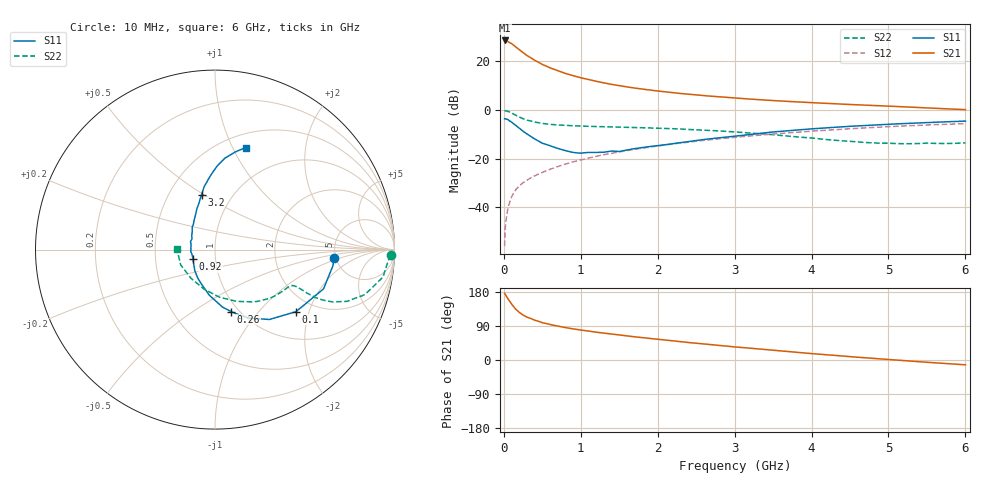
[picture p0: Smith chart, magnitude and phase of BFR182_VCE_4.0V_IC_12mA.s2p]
! Infineon Technologies  Discrete & RF Semiconductors
! BFR182
! VCE =  4.0 V,  IC =  12 mA
! Common Emitter S-Parameters:  Nov 2015
# GHz  S  MA  R  50
!  f  S11  S21  S12  S22
! GHz  MAG  ANG  MAG  ANG  MAG  ANG  MAG  ANG
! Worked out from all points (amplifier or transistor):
!   210 points, 10 MHz to 6 GHz, reference 50 ohm
!   highest |S21| = 28.6 dB at 10 MHz (marker M1)
!   |S21| within 3 dB of that: start of sweep to 168.8 MHz
!   unconditionally stable (mu >= 1): 741.6 MHz to 2.602 GHz
!   at 185 MHz: K = 0.56, MSG = 28.4 dB, |S12| = -31.7 dB
!   at 1.52 GHz: K = 1.05, MAG = 12.2 dB, |S12| = -17.1 dB
!   at 6 GHz: K = 0.89, MSG = 2.9 dB, |S12| = -5.6 dB
!   S11 on the Smith chart (normalised r, x): 10 MHz: 4.81, -0.82; 100 MHz: 1.61, -1.64; 260 MHz: 0.92, -0.73; 920 MHz: 0.78, -0.08; 3.2 GHz: 0.72, +0.49; 6 GHz: 0.64, +1.13
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0.01  0.6641 -4.1  26.93 176.1  0.0016 95.6  0.9788 -1.8
0.02  0.6632 -7.8  26.48 172.4  0.0041 89.4  0.9664 -3.8
0.05  0.6431 -19.9  25.77 162.4  0.009 81.9  0.9481 -9.3
0.1  0.5682 -37.5  23.28 147.4  0.0164 76.2  0.8723 -16.7
0.15  0.4939 -52.0  20.11 134.9  0.0227 69.7  0.7903 -21.4
0.2  0.4256 -63.8  17.48 125.6  0.0275 68.4  0.7201 -23.9
0.24  0.3773 -71.5  15.58 120.0  0.0313 68.2  0.6749 -24.8
0.26  0.3572 -75.3  14.74 117.4  0.033 68.0  0.6555 -25.2
0.3  0.3234 -82.5  13.25 113.1  0.0363 67.6  0.6229 -25.5
0.4  0.2561 -97.1  10.57 105.1  0.0446 68.5  0.5674 -25.3
0.5  0.2088 -110.5  8.667 98.4  0.0522 69.0  0.5316 -24.8
0.6  0.1856 -121.0  7.383 93.6  0.0607 69.7  0.5089 -24.5
0.7  0.1634 -133.4  6.423 89.4  0.069 70.0  0.4949 -24.5
0.92  0.1336 -156.5  4.979 81.5  0.088 69.8  0.4746 -25.0
1.02  0.1313 -168.6  4.537 78.6  0.0961 69.8  0.4681 -25.6
1.4  0.144 161.6  3.369 68.5  0.1291 68.3  0.451 -29.1
2.02  0.187 129.9  2.443 54.3  0.185 63.8  0.424 -37.1
3.1  0.3022 105.2  1.725 32.9  0.2845 53.7  0.3467 -57.0
3.2  0.3152 103.7  1.682 31.2  0.2938 52.6  0.3372 -59.4
4.1  0.4216 92.6  1.396 15.4  0.3778 42.7  0.2567 -88.1
5.1  0.52 82.7  1.186 -0.2  0.4645 30.5  0.2052 -135.0
6  0.594 73.2  1.021 -12.7  0.5255 18.2  0.212 179.2
